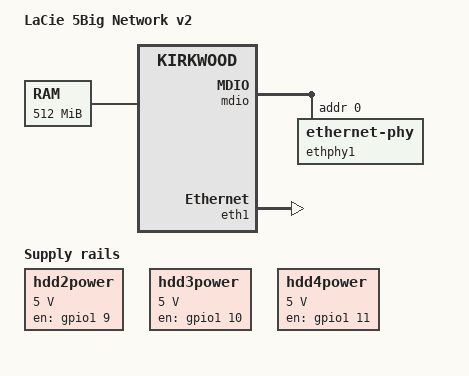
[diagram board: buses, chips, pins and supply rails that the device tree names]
/*
 * Device Tree file for LaCie 5Big Network v2
 *
 * Copyright (C) 2014
 *
 * Andrew Lunn <andrew@lunn.ch>
 *
 * Based on netxbig_v2-setup.c,
 * Copyright (C) 2010 Simon Guinot <sguinot@lacie.com>
 *
 * This file is licensed under the terms of the GNU General Public
 * License version 2.  This program is licensed "as is" without any
 * warranty of any kind, whether express or implied.
*/

/dts-v1/;

#include "kirkwood.dtsi"
#include "kirkwood-6281.dtsi"
#include "kirkwood-netxbig.dtsi"

/ {
	model = "LaCie 5Big Network v2";
	compatible = "lacie,net5big_v2", "lacie,netxbig", "marvell,kirkwood-88f6281", "marvell,kirkwood";

	memory {
		device_type = "memory";
		reg = <0x00000000 0x20000000>;
	};

};

&regulators {
	regulator@3 {
		compatible = "regulator-fixed";
		reg = <3>;
		regulator-name = "hdd2power";
		regulator-min-microvolt = <5000000>;
		regulator-max-microvolt = <5000000>;
		enable-active-high;
		regulator-always-on;
		regulator-boot-on;
		gpio = <&gpio1 9 GPIO_ACTIVE_HIGH>;
	};

	regulator@4 {
		compatible = "regulator-fixed";
		reg = <4>;
		regulator-name = "hdd3power";
		regulator-min-microvolt = <5000000>;
		regulator-max-microvolt = <5000000>;
		enable-active-high;
		regulator-always-on;
		regulator-boot-on;
		gpio = <&gpio1 10 GPIO_ACTIVE_HIGH>;
	};

	regulator@5 {
		compatible = "regulator-fixed";
		reg = <5>;
		regulator-name = "hdd4power";
		regulator-min-microvolt = <5000000>;
		regulator-max-microvolt = <5000000>;
		enable-active-high;
		regulator-always-on;
		regulator-boot-on;
		gpio = <&gpio1 11 GPIO_ACTIVE_HIGH>;
	};
};

&mdio {
	ethphy1: ethernet-phy@1 {
		reg = <0>;
	};
};

&eth1 {
	status = "okay";
	ethernet1-port@0 {
		phy-handle = <&ethphy1>;
	};
};

